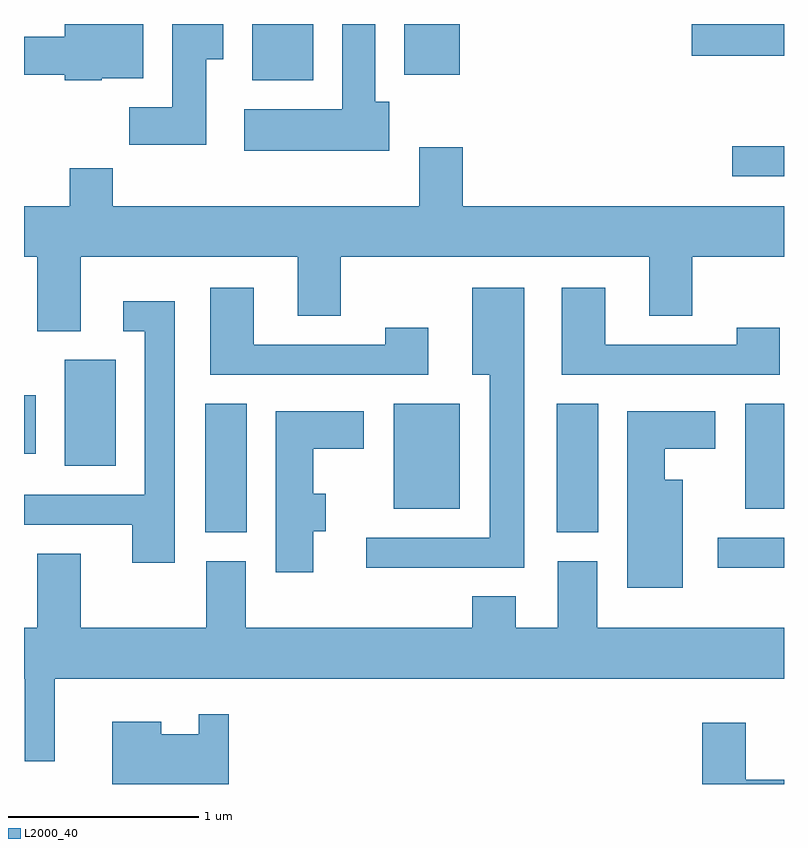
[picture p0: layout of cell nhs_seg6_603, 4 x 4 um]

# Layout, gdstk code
import gdstk
lib = gdstk.Library(unit=1e-6, precision=1e-09)
def R(c, l, rs):  # rectangles x0, y0, x1, y1
    for r in rs: c.add(gdstk.rectangle(r[:2], r[2:], *l))
def P(c, l, *ps):  # polygons
    for p in ps: c.add(gdstk.Polygon(p, *l))
L2000_40 = (2000, 40)

nhs_seg6_603 = lib.new_cell('nhs_seg6_603')
R(nhs_seg6_603, L2000_40, [(207.263,1537.301,207.611,1537.459), (204.566,1537.486,204.784,1538.164), (206.416,1537.486,206.634,1538.164), (205.556,1537.611,205.904,1538.164), (207.406,1537.611,207.611,1538.164), (203.826,1537.836,204.094,1538.394), (203.611,1537.901,203.674,1538.209), (207.338,1539.361,207.611,1539.519), (204.811,1539.866,205.134,1540.162), (205.611,1539.896,205.904,1540.162), (207.126,1539.996,207.611,1540.162)])
P(nhs_seg6_603, L2000_40, [(204.569,1539.976),(204.659,1539.976),(204.659,1540.162),(204.391,1540.162),(204.391,1539.724),(204.166,1539.724),(204.166,1539.526),(204.569,1539.526)],
  [(204.02,1539.876),(204.239,1539.876),(204.239,1540.162),(203.826,1540.162),(203.826,1540.094),(203.611,1540.094),(203.611,1539.896),(203.826,1539.896),(203.826,1539.866),(204.02,1539.866)],
  [(205.534,1539.754),(205.459,1539.754),(205.459,1540.162),(205.286,1540.162),(205.286,1539.714),(204.771,1539.714),(204.771,1539.496),(205.534,1539.496)],
  [(203.909,1538.936),(205.051,1538.936),(205.051,1538.626),(205.279,1538.626),(205.279,1538.936),(206.901,1538.936),(206.901,1538.626),(207.129,1538.626),(207.129,1538.936),(207.611,1538.936),(207.611,1539.204),(205.919,1539.204),(205.919,1539.514),(205.691,1539.514),(205.691,1539.204),(204.079,1539.204),(204.079,1539.404),(203.851,1539.404),(203.851,1539.204),(203.611,1539.204),(203.611,1538.936),(203.681,1538.936),(203.681,1538.546),(203.909,1538.546)],
  [(205.739,1538.564),(205.511,1538.564),(205.511,1538.474),(204.819,1538.474),(204.819,1538.774),(204.591,1538.774),(204.591,1538.316),(205.739,1538.316)],
  [(207.589,1538.564),(207.361,1538.564),(207.361,1538.474),(206.669,1538.474),(206.669,1538.774),(206.441,1538.774),(206.441,1538.316),(207.589,1538.316)],
  [(206.244,1538.774),(205.971,1538.774),(205.971,1538.316),(206.061,1538.316),(206.061,1537.459),(205.413,1537.459),(205.413,1537.301),(206.244,1537.301)],
  [(204.404,1538.704),(204.133,1538.704),(204.133,1538.546),(204.246,1538.546),(204.246,1537.684),(203.611,1537.684),(203.611,1537.526),(204.181,1537.526),(204.181,1537.326),(204.404,1537.326)],
  [(207.079,1537.764),(206.984,1537.764),(206.984,1537.926),(207.249,1537.926),(207.249,1538.124),(206.786,1538.124),(206.786,1537.196),(207.079,1537.196)],
  [(205.134,1537.491),(205.199,1537.491),(205.199,1537.689),(205.134,1537.689),(205.134,1537.926),(205.399,1537.926),(205.399,1538.124),(204.936,1538.124),(204.936,1537.276),(205.134,1537.276)],
  [(203.774,1536.716),(207.611,1536.716),(207.611,1536.984),(206.629,1536.984),(206.629,1537.334),(206.421,1537.334),(206.421,1536.984),(206.199,1536.984),(206.199,1537.149),(205.971,1537.149),(205.971,1536.984),(204.779,1536.984),(204.779,1537.334),(204.571,1537.334),(204.571,1536.984),(203.909,1536.984),(203.909,1537.374),(203.681,1537.374),(203.681,1536.984),(203.611,1536.984),(203.611,1536.716),(203.616,1536.716),(203.616,1536.283),(203.774,1536.283)],
  [(204.689,1536.528),(204.531,1536.528),(204.531,1536.424),(204.334,1536.424),(204.334,1536.489),(204.076,1536.489),(204.076,1536.162),(204.689,1536.162)],
  [(207.611,1536.184),(207.409,1536.184),(207.409,1536.484),(207.181,1536.484),(207.181,1536.162),(207.611,1536.162)])

lib.write_gds('nhs_seg6_603.gds')
